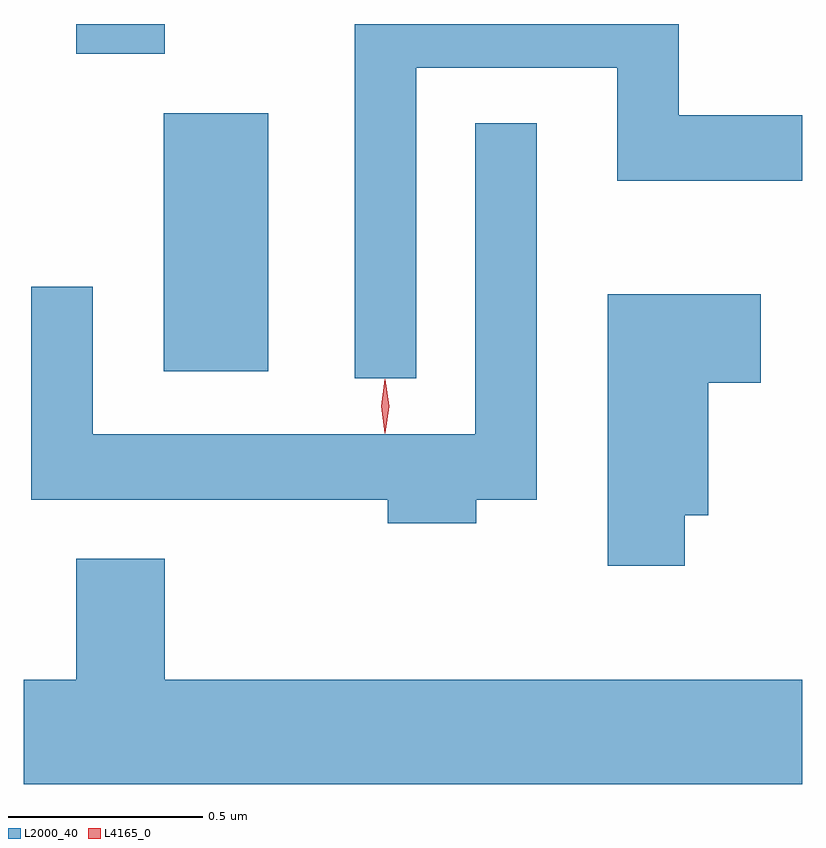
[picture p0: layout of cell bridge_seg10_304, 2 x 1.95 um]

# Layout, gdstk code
import gdstk
lib = gdstk.Library(unit=1e-6, precision=1e-09)
def R(c, l, rs):  # rectangles x0, y0, x1, y1
    for r in rs: c.add(gdstk.rectangle(r[:2], r[2:], *l))
def P(c, l, *ps):  # polygons
    for p in ps: c.add(gdstk.Polygon(p, *l))
L2000_40 = (2000, 40)
L4165_0 = (4165, 0)

bridge_seg10_304 = lib.new_cell('bridge_seg10_304')
R(bridge_seg10_304, L2000_40, [(1449.216,2179.356,1449.484,2180.019), (1448.991,2180.171,1449.219,2180.248)])
P(bridge_seg10_304, L2000_40, [(1449.864,2180.136),(1450.381,2180.136),(1450.381,2179.846),(1450.856,2179.846),(1450.856,2180.014),(1450.539,2180.014),(1450.539,2180.248),(1449.706,2180.248),(1449.706,2179.338),(1449.864,2179.338)],
  [(1450.019,2179.026),(1450.174,2179.026),(1450.174,2179.993),(1450.016,2179.993),(1450.016,2179.194),(1449.034,2179.194),(1449.034,2179.573),(1448.876,2179.573),(1448.876,2179.026),(1449.791,2179.026),(1449.791,2178.966),(1450.019,2178.966)],
  [(1450.554,2178.986),(1450.614,2178.986),(1450.614,2179.326),(1450.749,2179.326),(1450.749,2179.554),(1450.356,2179.554),(1450.356,2178.856),(1450.554,2178.856)],
  [(1450.856,2178.564),(1449.219,2178.564),(1449.219,2178.874),(1448.991,2178.874),(1448.991,2178.564),(1448.856,2178.564),(1448.856,2178.296),(1450.856,2178.296)])
P(bridge_seg10_304, L4165_0, [(1449.784,2179.197),(1449.775,2179.266),(1449.784,2179.336),(1449.785,2179.336),(1449.785,2179.336),(1449.795,2179.266),(1449.785,2179.197),(1449.785,2179.197)],
  [(1449.785,2179.199),(1449.784,2179.2),(1449.775,2179.266),(1449.784,2179.332),(1449.785,2179.333),(1449.785,2179.332),(1449.795,2179.266),(1449.785,2179.2)])

lib.write_gds('bridge_seg10_304.gds')
